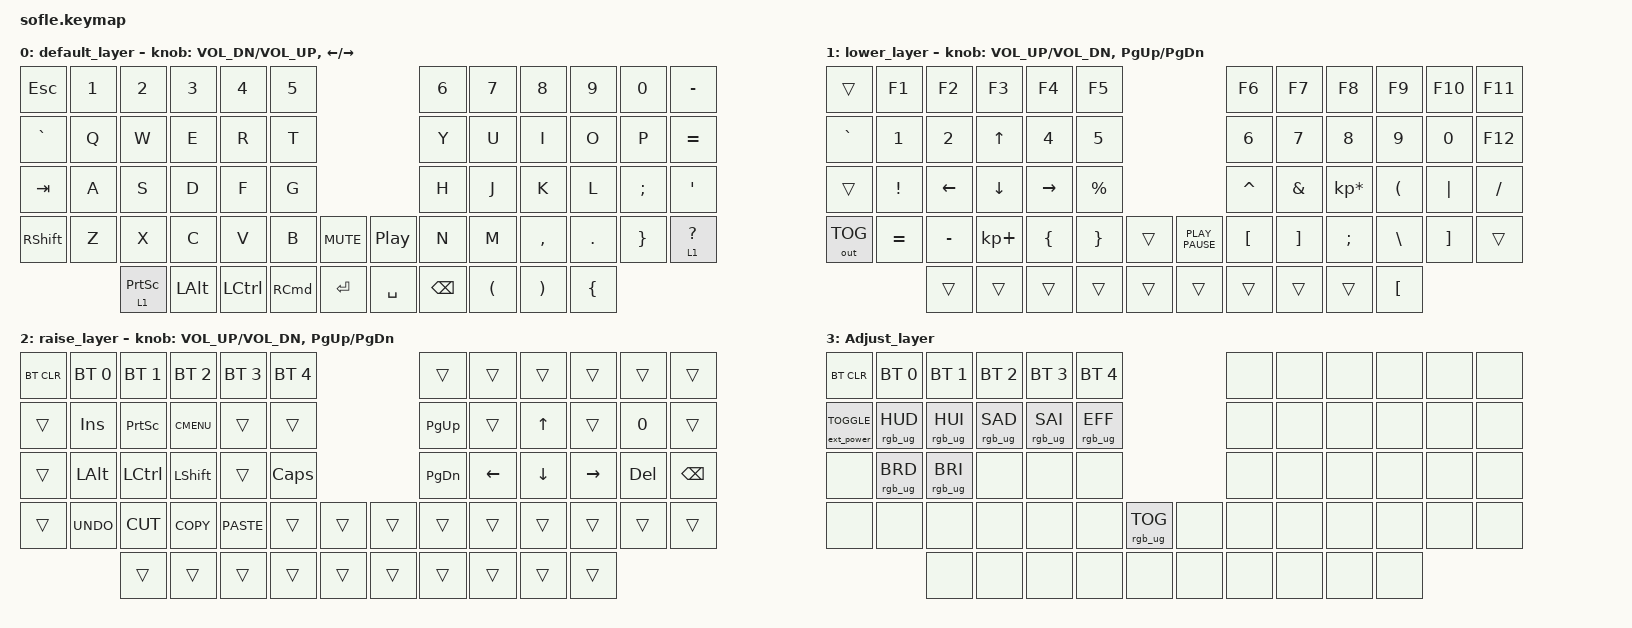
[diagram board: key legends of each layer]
/*
 * Copyright (c) 2020 The ZMK Contributors
 *
 * SPDX-License-Identifier: MIT
 */

#include <behaviors.dtsi>
#include <dt-bindings/zmk/bt.h>
#include <dt-bindings/zmk/ext_power.h>
#include <dt-bindings/zmk/keys.h>
#include <dt-bindings/zmk/outputs.h>
#include <dt-bindings/zmk/rgb.h>

#define BASE 0
#define LOWER 1
#define RAISE 2
#define ADJUST 3

/ {
    // Activate ADJUST layer by pressing raise and lower

    conditional_layers {
        compatible = "zmk,conditional-layers";

        adjust_layer {
            if-layers = <LOWER RAISE>;
            then-layer = <ADJUST>;
        };
    };

    keymap {
        compatible = "zmk,keymap";

        default_layer {
            // ------------------------------------------------------------------------------------------------------------
            // |  `    |  1  |  2  |  3   |  4   |  5   |                   |  6   |  7    |  8    |  9   |   0   |       |
            // |  ESC  |  Q  |  W  |  E   |  R   |  T   |                   |  Y   |  U    |  I    |  O   |   P   | BKSPC |
            // |  TAB  |  A  |  S  |  D   |  F   |  G   |                   |  H   |  J    |  K    |  L   |   ;   |   '   |
            // | SHIFT |  Z  |  X  |  C   |  V   |  B   |  MUTE  |  |       |  N   |  M    |  ,    |  .   |   /   | SHIFT |
            //               | GUI | ALT  | CTRL | LOWER|  ENTER |  | SPACE | RAISE| CTRL  | ALT   | GUI  |

            bindings = <
&kp ESCAPE       &kp N1  &kp N2             &kp N3        &kp N4     &kp N5                                             &kp N6         &kp N7                &kp N8                 &kp N9          &kp N0           &kp MINUS
&kp GRAVE        &kp Q   &kp W              &kp E         &kp R      &kp T                                              &kp Y          &kp U                 &kp I                  &kp O           &kp P            &kp EQUAL
&kp TAB          &kp A   &kp S              &kp D         &kp F      &kp G                                              &kp H          &kp J                 &kp K                  &kp L           &kp SEMI         &kp SQT
&kp RIGHT_SHIFT  &kp Z   &kp X              &kp C         &kp V      &kp B              &kp C_MUTE    &kp C_PLAY_PAUSE  &kp N          &kp M                 &kp COMMA              &kp DOT         &kp RIGHT_BRACE  &lt 1 QUESTION
                         &lt 1 PRINTSCREEN  &kp LEFT_ALT  &kp LCTRL  &kp RIGHT_COMMAND  &kp RET       &kp SPACE         &kp BACKSPACE  &kp LEFT_PARENTHESIS  &kp RIGHT_PARENTHESIS  &kp LEFT_BRACE
            >;

            sensor-bindings =
                <&inc_dec_kp C_VOL_DN C_VOL_UP>,
                <&inc_dec_kp LEFT RIGHT>;
        };

        lower_layer {
            // TODO: Some binds are waiting for shifted keycode support.
            // ------------------------------------------------------------------------------------------------------------
            // |       |  F1 |  F2 |  F3  |  F4  |  F5  |                   |  F6  |  F7   |  F8   |  F9  |  F10  |  F11  |
            // | `     |   1 |   2 |   3  |   4  |   5  |                   |   6  |   7   |   8   |   9  |    0  |  F12  |
            // |       |  !  |  @  |  #   |  $   |  %   |                   |  ^   |  &    |  *    |  (   |   )   |   |   |
            // |       |  =  |  -  |  +   |  {   |  }   |        |  |       |  [   |  ]    |  ;    |  :   |   \   |       |
            //               |     |      |      |      |        |  |       |      |       |       |      |

            bindings = <
&trans        &kp F1     &kp F2     &kp F3          &kp F4     &kp F5                                 &kp F6     &kp F7    &kp F8           &kp F9            &kp F10            &kp F11
&kp GRAVE     &kp N1     &kp N2     &kp UP_ARROW    &kp N4     &kp N5                                 &kp N6     &kp N7    &kp N8           &kp N9            &kp N0             &kp F12
&trans        &kp EXCL   &kp LEFT   &kp DOWN_ARROW  &kp RIGHT  &kp PRCNT                              &kp CARET  &kp AMPS  &kp KP_MULTIPLY  &kp LPAR          &kp PIPE           &kp SLASH
&out OUT_TOG  &kp EQUAL  &kp MINUS  &kp KP_PLUS     &kp LBRC   &kp RBRC   &trans    &kp K_PLAY_PAUSE  &kp LBKT   &kp RBKT  &kp SEMI         &kp BACKSLASH     &kp RIGHT_BRACKET  &trans
                         &trans     &trans          &trans     &trans     &trans    &trans            &trans     &trans    &trans           &kp LEFT_BRACKET
            >;

            sensor-bindings =
                <&inc_dec_kp C_VOL_UP C_VOL_DN>,
                <&inc_dec_kp PAGE_UP PAGE_DOWN>;
        };

        raise_layer {
            // ------------------------------------------------------------------------------------------------------------
            // |BTCLR| BT1  | BT2  |  BT3  |  BT4  |  BT5 |                |      |      |       |      |       |       |
            // |     | INS  | PSCR | GUI   |       |      |                | PGUP |      |   ^   |      |       |       |
            // |     | ALT  | CTRL | SHIFT |       | CAPS |                | PGDN |   <- |   v   |  ->  |  DEL  | BKSPC |
            // |     | UNDO | CUT  | COPY  | PASTE |      |      |  |      |      |      |       |      |       |       |
            //              |      |       |       |      |      |  |      |      |      |       |      |

            bindings = <
&bt BT_CLR  &bt BT_SEL 0  &bt BT_SEL 1  &bt BT_SEL 2  &bt BT_SEL 3  &bt BT_SEL 4                    &trans     &trans    &trans    &trans     &trans   &trans
&trans      &kp INS       &kp PSCRN     &kp K_CMENU   &trans        &trans                          &kp PG_UP  &trans    &kp UP    &trans     &kp N0   &trans
&trans      &kp LALT      &kp LCTRL     &kp LSHFT     &trans        &kp CLCK                        &kp PG_DN  &kp LEFT  &kp DOWN  &kp RIGHT  &kp DEL  &kp BSPC
&trans      &kp K_UNDO    &kp K_CUT     &kp K_COPY    &kp K_PASTE   &trans        &trans    &trans  &trans     &trans    &trans    &trans     &trans   &trans
                          &trans        &trans        &trans        &trans        &trans    &trans  &trans     &trans    &trans    &trans
            >;

            sensor-bindings = <&inc_dec_kp C_VOL_UP C_VOL_DN &inc_dec_kp PG_UP PG_DN>;
        };

        // ------------------------------------------------------------------------------------------------------------
        // |BTCLR | BT1   | BT2   |  BT3  |  BT4  |  BT5  |                |      |      |       |      |       |       |
        // |EXTPWR|RGB_HUD|RGB_HUI|RGB_SAD|RGB_SAI|RGB_EFF|                |      |      |       |      |       |       |
        // |      |RGB_BRD|RGB_BRI|       |       |       |                |      |      |       |      |       |       |
        // |      |       |       |       |       |       |RGB_TOG| |      |      |      |       |      |       |       |
        //                |       |       |       |       |       | |      |      |      |       |      |

        Adjust_layer {
            bindings = <
&bt BT_CLR                       &bt BT_SEL 0     &bt BT_SEL 1     &bt BT_SEL 2     &bt BT_SEL 3     &bt BT_SEL 4                               &none  &none  &none  &none  &none  &none
&ext_power EXT_POWER_TOGGLE_CMD  &rgb_ug RGB_HUD  &rgb_ug RGB_HUI  &rgb_ug RGB_SAD  &rgb_ug RGB_SAI  &rgb_ug RGB_EFF                            &none  &none  &none  &none  &none  &none
&none                            &rgb_ug RGB_BRD  &rgb_ug RGB_BRI  &none            &none            &none                                      &none  &none  &none  &none  &none  &none
&none                            &none            &none            &none            &none            &none            &rgb_ug RGB_TOG    &none  &none  &none  &none  &none  &none  &none
                                                  &none            &none            &none            &none            &none              &none  &none  &none  &none  &none
            >;
        };
    };
};
